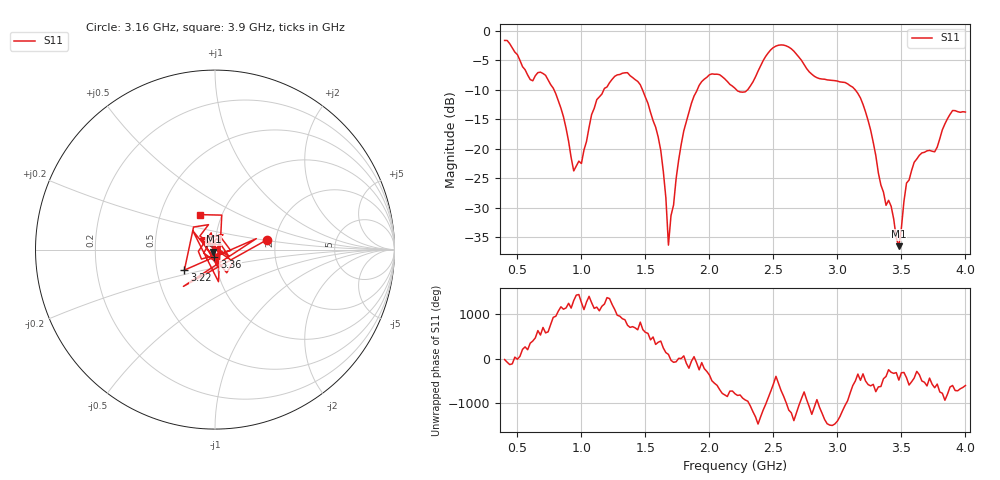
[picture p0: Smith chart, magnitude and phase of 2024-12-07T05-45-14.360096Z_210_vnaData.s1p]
!Created with skrf (http://scikit-rf.org).
# Hz S RI R 50.0
!freq ReS11 ImS11
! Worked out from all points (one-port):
!   181 points, 400 MHz to 4 GHz, reference 50 ohm
!   lowest |S11| = -36.6 dB at 3.48 GHz (marker M1), VSWR 1.03, Z = 49.1 - j1.18 ohm
!   |S11| at or under -10 dB: 786.1 MHz to 1.175 GHz (388.7 MHz wide, 39.6 % of centre); 1.477 GHz to 1.905 GHz (427.4 MHz wide, 25.3 % of centre); 3.14 GHz to end of sweep (the widest 3 of 4)
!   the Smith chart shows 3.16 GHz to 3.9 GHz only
!   S11 on the Smith chart (normalised r, x): 3.16 GHz: 1.80, +0.22; 3.22 GHz: 0.69, -0.17; 3.36 GHz: 0.99, -0.08; 3.9 GHz: 0.79, +0.32
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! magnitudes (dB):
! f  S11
! 400 MHz  -1.6
! 600 MHz  -8.2
! 720 MHz  -7.5
! 860 MHz  -14.6
! 940 MHz  -23.8
! 1 GHz  -22.5
! 1.12 GHz  -11.7
! 1.3 GHz  -7.4
! 1.46 GHz  -9.1
! 1.58 GHz  -16.3
! 1.64 GHz  -23.9
! 1.68 GHz  -36.4
! 1.76 GHz  -21.9
! 1.86 GHz  -12.3
! 1.94 GHz  -8.6
! 2.2 GHz  -9.7
! 2.3 GHz  -10.0
! 2.5 GHz  -2.8
! 2.66 GHz  -3.4
! 3.1 GHz  -9.3
! 3.16 GHz  -10.6
! 3.22 GHz  -13.8
! 3.36 GHz  -27.4
! 3.48 GHz  -36.6
! 3.54 GHz  -25.8
! 3.56 GHz  -25.3
! 3.9 GHz  -13.5
! 4 GHz  -13.8
